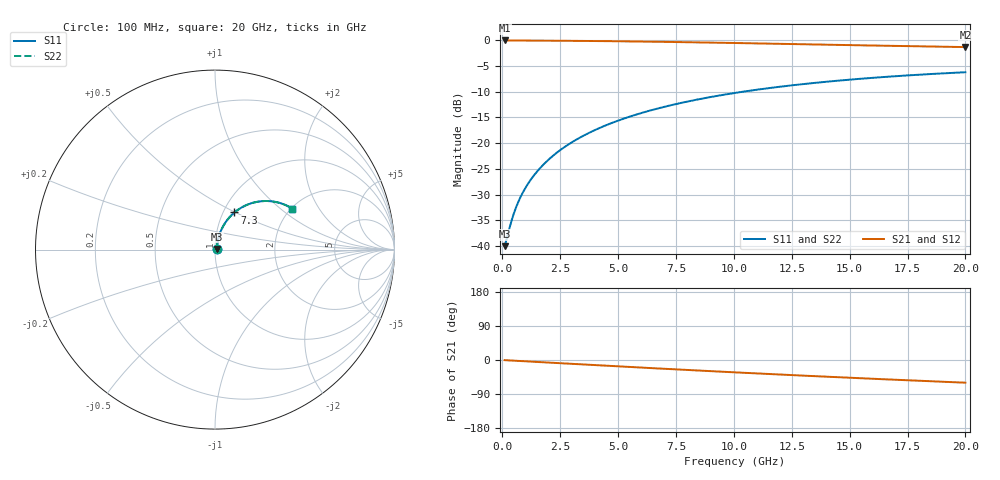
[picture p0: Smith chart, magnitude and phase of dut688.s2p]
! Touchstone file exported from HFSS 2026.1.0
!  File:  C:/ffzhzh/LocalFiles/Ansys_Project_Files/temp_train_TMRDL_688_1783010230_4048.aedt
!  Generated:  12:39:04 AM Jul  3, 2026
!  Design:  TMRDL
!  Project:  temp_train_TMRDL_688_1783010230_4048
! Variables:
!  h_bsmrdl = 2um
!  h_ox = 20um
!  h_rdl = 5um
!  h_sub = 80um
!  h_tmrdl = 2.48um
!  h_tsv = 80um
!  h_via = 3um
!  l_bsmrdl = 300um
!  l_sub = 1359.67um
!  l_tmrdl = 959.67um
!  m_sub = 200um
!  pitch = 32.86um
!  r_tsv = 6um
!  s_tmrdl = 10um
!  w_bsmrdl = 18um
!  w_sub = 500um
!  w_tmrdl = 14.76um
!  x_tsv_center1 = 967.05um
!  x_tsv_center2 = 1285.05um
!  x_tsv_center3 = 2259.48um
!  x_tsv_center4 = 2577.48um
!  x_tsv_center5 = 3551.91um
!  x_tsv_center6 = 3869.91um
# GHz S MA R 50.000000
! Terminal data exported
! Port[1] = TM_RDL1_1_T1
! Port[2] = TM_RDL1_1_T2
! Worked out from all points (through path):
!   200 points, 100 MHz to 20 GHz, reference 50 ohm
!   highest |S21| = -0.08 dB at 100 MHz (marker M1); lowest = -1.4 dB at 20 GHz (marker M2)
!   group delay of S21, straight-line fit = 8.33 ps
!   lowest |S11| = -40.0 dB at 100 MHz (marker M3), VSWR 1.02, Z = 50.9 + j0.376 ohm
!   |S11| at or under -10 dB: start of sweep to 10.44 GHz
!   |S22| runs from -40.0 to -6.2 dB; largest |S21 - S12| = 9.5e-15
!   S11 on the Smith chart (normalised r, x): 100 MHz: 1.02, +0.01; 7.3 GHz: 1.13, +0.49; 20 GHz: 2.02, +1.21
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0.1  0.009987 21.7  0.9907 -0.4  0.9907 -0.4  0.009987 21.7
! Gamma 0 0 0 0
! Port Impedance 50 0 50 0
0.4  0.01766 54.8  0.9901 -1.4  0.9901 -1.4  0.01766 54.8
0.6  0.02394 62.4  0.9895 -2.1  0.9895 -2.1  0.02394 62.4
0.7  0.02713 64.8  0.9892 -2.4  0.9892 -2.4  0.02713 64.8
0.9  0.03353 68.0  0.9886 -3.1  0.9886 -3.1  0.03353 68.0
1.2  0.04318 70.8  0.9879 -4.1  0.9879 -4.1  0.04318 70.8
1.4  0.04964 71.9  0.9874 -4.8  0.9874 -4.8  0.04964 71.9
1.7  0.05938 72.9  0.9867 -5.8  0.9867 -5.8  0.05938 72.9
2.2  0.07566 73.5  0.9853 -7.5  0.9853 -7.5  0.07566 73.5
2.8  0.09518 73.2  0.9834 -9.5  0.9834 -9.5  0.09518 73.2
3.5  0.1178 72.1  0.9806 -11.8  0.9806 -11.8  0.1178 72.1
4.2  0.1401 70.6  0.9774 -14.1  0.9774 -14.1  0.1401 70.6
5  0.1651 68.7  0.9732 -16.7  0.9732 -16.7  0.1651 68.7
5.9  0.1926 66.3  0.9677 -19.7  0.9677 -19.7  0.1926 66.3
6.8  0.2191 63.8  0.9616 -22.6  0.9616 -22.6  0.2192 63.8
7.3  0.2335 62.3  0.958 -24.1  0.958 -24.1  0.2335 62.3
8.6  0.2694 58.6  0.948 -28.2  0.948 -28.2  0.2694 58.6
10.1  0.308 54.3  0.9355 -32.8  0.9355 -32.8  0.308 54.3
11.7  0.3458 49.8  0.9217 -37.5  0.9217 -37.5  0.3458 49.8
13.4  0.382 45.1  0.9067 -42.4  0.9067 -42.4  0.382 45.0
16.7  0.4413 36.3  0.8789 -51.4  0.8789 -51.4  0.4414 36.3
20  0.487 28.0  0.8544 -59.9  0.8544 -59.9  0.487 28.0
